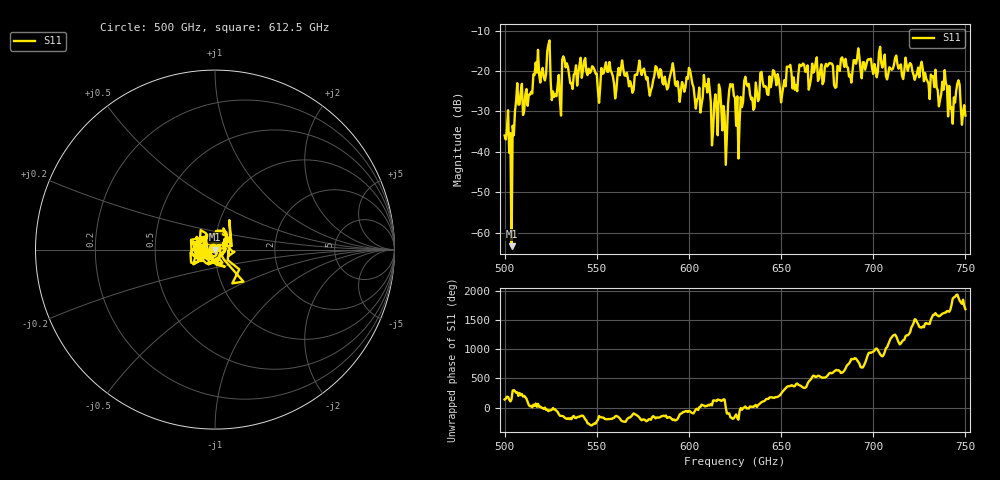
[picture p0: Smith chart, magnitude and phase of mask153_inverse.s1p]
!Created with skrf (http://scikit-rf.org).
# GHz S MA R 50.0
!freq magS11 angS11
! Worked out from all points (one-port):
!   401 points, 500 GHz to 750 GHz, reference 50 ohm
!   lowest |S11| = -63.4 dB at 503.8 GHz (marker M1), VSWR 1.00, Z = 49.9 + j0.0428 ohm
!   |S11| at or under -10 dB: start of sweep to end of sweep
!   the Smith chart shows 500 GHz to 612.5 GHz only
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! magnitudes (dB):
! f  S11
! 500 GHz  -36.0
! 503.8 GHz  -63.4
! 506.9 GHz  -23.0
! 513.8 GHz  -25.9
! 516.9 GHz  -17.9
! 523.8 GHz  -13.5
! 526.9 GHz  -26.4
! 531.2 GHz  -17.2
! 532.5 GHz  -17.2
! 550.6 GHz  -24.9
! 562.5 GHz  -21.1
! 593.8 GHz  -22.6
! 609.4 GHz  -23.3
! 612.5 GHz  -38.4
! 617.5 GHz  -28.6
! 619.4 GHz  -31.0
! 622.5 GHz  -23.2
! 625 GHz  -26.7
! 626.9 GHz  -41.7
! 631.2 GHz  -23.3
! 634.4 GHz  -26.6
! 656.2 GHz  -24.3
! 687.5 GHz  -20.9
! 718.8 GHz  -20.0
! 738.8 GHz  -19.8
! 741.9 GHz  -29.3
! 746.2 GHz  -22.3
! 750 GHz  -31.0
